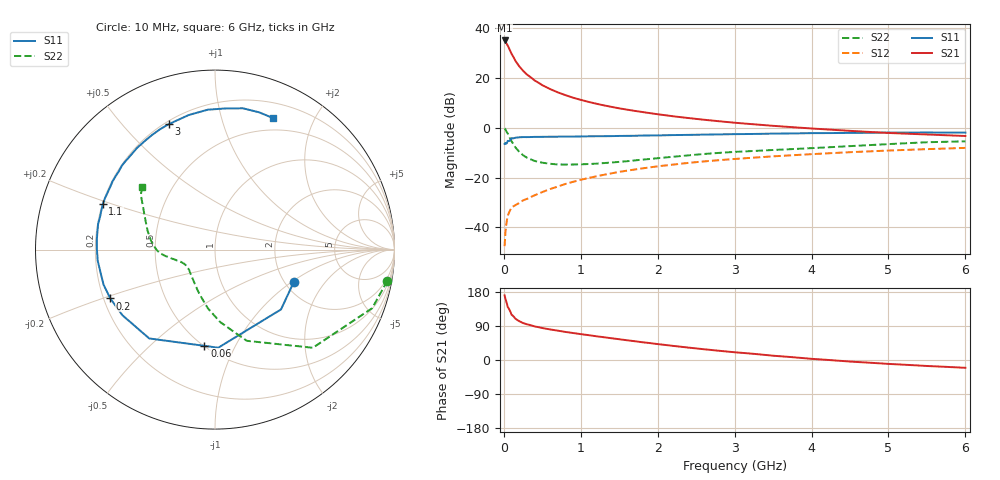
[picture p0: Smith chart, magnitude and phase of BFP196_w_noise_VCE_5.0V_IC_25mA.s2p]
! (c) 2017  Infineon Technologies AG, Munich
! Infineon Technologies  Discrete & RF Semiconductors
! BFP196
! VCE =  5.0 V,  IC =  25 mA
! Common Emitter S-Parameters:  Jan 2017
# GHz  S  MA  R  50
!  f  S11  S21  S12  S22
! GHz  MAG  ANG  MAG  ANG  MAG  ANG  MAG  ANG
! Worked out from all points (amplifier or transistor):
!   77 points, 10 MHz to 6 GHz, reference 50 ohm
!   highest |S21| = 35.1 dB at 10 MHz (marker M1)
!   |S21| within 3 dB of that: start of sweep to 65.19 MHz
!   unconditionally stable (mu >= 1): 688.6 MHz to 2.4 GHz
!   at 130 MHz: K = 0.43, MSG = 29.8 dB, |S12| = -31.4 dB
!   at 2.2 GHz: K = 1.01, MAG = 9.0 dB, |S12| = -14.8 dB
!   at 6 GHz: K = 0.93, MSG = 2.4 dB, |S12| = -8.1 dB
!   lowest NFmin = 1.15 dB at 450 MHz
!   S11 on the Smith chart (normalised r, x): 10 MHz: 2.25, -1.03; 60 MHz: 0.50, -0.76; 200 MHz: 0.23, -0.21; 1.1 GHz: 0.20, +0.19; 3 GHz: 0.21, +0.68; 6 GHz: 0.36, +1.47
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0.01  0.4748 -22.0  56.64 170.5  0.0042 81.5  0.9757 -10.3
0.02  0.4964 -42.2  55.23 161.9  0.0078 74.4  0.9347 -20.4
0.05  0.5469 -88.1  44.9 140.1  0.017 58.3  0.7724 -45.1
0.06  0.5395 -96.3  41.71 137.2  0.0186 55.8  0.7164 -48.8
0.1  0.6159 -126.5  30.62 119.6  0.0251 49.0  0.5381 -70.8
0.15  0.6325 -144.7  22.14 109.0  0.028 46.4  0.4042 -86.0
0.2  0.6436 -155.0  17.17 102.4  0.0309 47.6  0.3295 -96.9
0.25  0.6508 -162.4  13.95 97.5  0.0349 49.0  0.2817 -104.9
0.3  0.6499 -167.3  11.74 94.2  0.0373 50.7  0.251 -112.0
0.4  0.6565 -174.6  8.921 88.6  0.0441 54.6  0.216 -122.6
0.5  0.6582 179.6  7.16 84.4  0.0512 56.5  0.1989 -130.4
0.6  0.6608 175.2  6.004 80.7  0.0588 57.8  0.1897 -136.8
0.7  0.6626 171.3  5.152 77.5  0.0659 59.4  0.1834 -141.6
0.9  0.6658 164.1  4.019 71.2  0.0823 60.3  0.1831 -148.6
1.1  0.6742 157.9  3.315 65.6  0.0982 59.8  0.1872 -153.8
1.5  0.6858 146.3  2.456 54.8  0.1303 57.2  0.2068 -161.6
2.1  0.7077 130.1  1.785 39.7  0.1752 50.9  0.2534 -169.5
3  0.7451 110.2  1.263 20.4  0.2366 40.1  0.328 179.7
3.1  0.7473 108.3  1.227 18.8  0.2425 38.9  0.3337 178.2
4.1  0.7812 91.4  0.947 1.8  0.3009 27.4  0.3972 162.4
5.1  0.8018 77.5  0.776 -11.3  0.3536 15.8  0.4785 147.6
6  0.8012 66.3  0.684 -20.6  0.3949 5.7  0.5353 139.4
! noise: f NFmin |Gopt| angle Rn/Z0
0.45  1.15  0.34  164  0.05
0.9  1.34  0.45  -176  0.06
1.9  2.21  0.68  -136  0.24
2.4  2.64  0.71  -122  0.59
